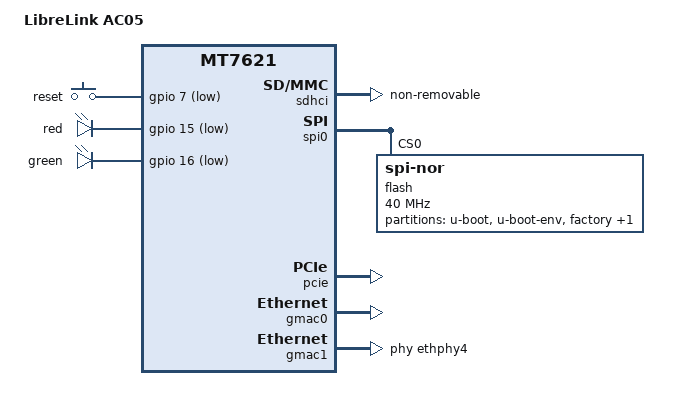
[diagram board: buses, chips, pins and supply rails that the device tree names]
// SPDX-License-Identifier: GPL-2.0-or-later OR MIT

#include "mt7621.dtsi"

#include <dt-bindings/gpio/gpio.h>
#include <dt-bindings/input/input.h>
/ {
    compatible = "librelink,ac04", "mediatek,mt7621-soc";
    model = "LibreLink AC05";

    chosen {
        bootargs = "console=ttyS0,115200";
    };

	keys {
		compatible = "gpio-keys";
		
		reset {
			label = "reset";
			gpios = <&gpio 7 GPIO_ACTIVE_LOW>;
			linux,code = <KEY_RESTART>;
		};
	};

    leds {
        compatible = "gpio-leds";

        red {
            label = "red";
            gpios = <&gpio 15 GPIO_ACTIVE_LOW>;
            default-state = "on";
            linux,default-trigger = "timer";
        };

        green {
            label = "green";
            gpios = <&gpio 16 GPIO_ACTIVE_LOW>;
            default-state = "on";
            linux,default-trigger = "timer";
        };
    };
};

&sdhci {
	status = "okay";
	non-removable;
};

&spi0 {
	status = "okay";

	flash@0 {
		compatible = "jedec,spi-nor";
		reg = <0>;
		spi-max-frequency = <40000000>;

		partitions {
			compatible = "fixed-partitions";
			#address-cells = <1>;
			#size-cells = <1>;

			partition@0 {
				label = "u-boot";
				reg = <0x0 0x30000>;
				read-only;
			};

			partition@30000 {
				label = "u-boot-env";
				reg = <0x30000 0x10000>;
			};

			partition@40000 {
				label = "factory";
				reg = <0x40000 0x10000>;
				read-only;

				nvmem-layout {
					compatible = "fixed-layout";
					#address-cells = <1>;
					#size-cells = <1>;

					macaddr_factory_e000: macaddr@e000 {
						reg = <0xe000 0x6>;
					};

					macaddr_factory_e006: macaddr@e006 {
						reg = <0xe006 0x6>;
					};
				};
			};

			partition@50000 {
				label = "firmware";
				reg = <0x50000 0xfb0000>;
				compatible = "denx,uimage";
			};
		};
	};
};

&pcie {
	status = "okay";
};

&ethernet {
	pinctrl-0 = <&mdio_pins>, <&rgmii1_pins>;
};

&ethphy4 {
	/delete-property/ interrupts;
};

&gmac0 {
	status = "okay";

	nvmem-cells = <&macaddr_factory_e000 0>;
	nvmem-cell-names = "mac-address";
};

&gmac1 {
	status = "okay";

	label = "wan";
	phy-handle = <&ethphy4>;

	nvmem-cells = <&macaddr_factory_e000 1>;
	nvmem-cell-names = "mac-address";
};

&switch0 {
	ports {
		port@0 {
			status = "okay";
			label = "lan1";
		};

		port@1 {
			status = "okay";
			label = "lan2";
		};

		port@2 {
			status = "okay";
			label = "lan3";
		};

		port@3 {
			status = "okay";
			label = "lan4";
		};
	};
	
};

&state_default {
	gpio {
		groups = "wdt", "jtag";
		function = "gpio";
	};
};
